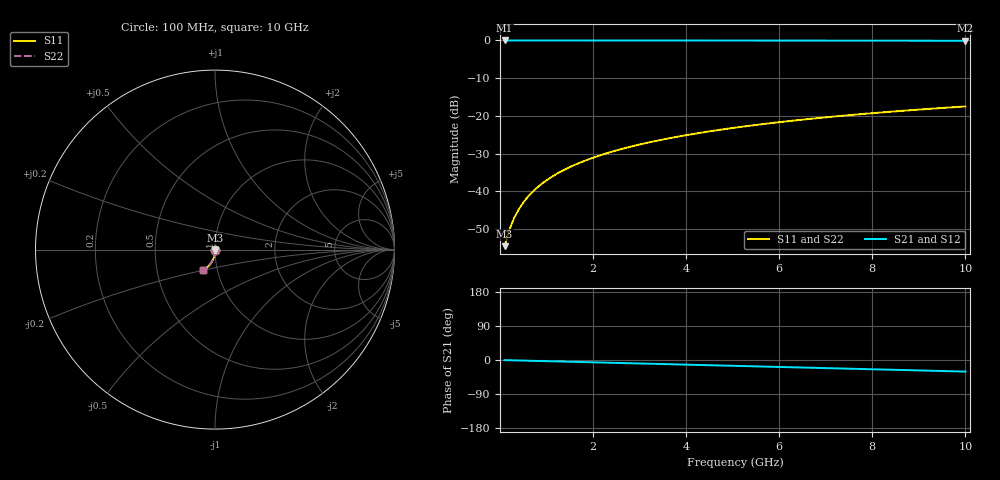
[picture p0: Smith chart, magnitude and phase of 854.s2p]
# Hz S RI R 50.00
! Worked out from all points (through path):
!   100 points, 100 MHz to 10 GHz, reference 50 ohm
!   highest |S21| = -0.01 dB at 100 MHz (marker M1); lowest = -0.1 dB at 10 GHz (marker M2)
!   group delay of S21, straight-line fit = 8.5 ps
!   lowest |S11| = -54.6 dB at 100 MHz (marker M3), VSWR 1.00, Z = 50.1 - j0.14 ohm
!   |S11| at or under -10 dB: start of sweep to end of sweep
!   |S22| runs from -54.6 to -17.5 dB; largest |S21 - S12| = 0
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1e8  0.00124 -0.0014  0.9987 -0.00532  0.9987 -0.00532  0.00124 -0.0014
2e8  0.00123 -0.0028  0.9987 -0.0106  0.9987 -0.0106  0.00123 -0.0028
3e8  0.00119 -0.00419  0.9986 -0.016  0.9986 -0.016  0.00119 -0.00419
4e8  0.00114 -0.00559  0.9985 -0.0213  0.9985 -0.0213  0.00114 -0.00559
5e8  0.00108 -0.00699  0.9983 -0.0266  0.9983 -0.0266  0.00108 -0.00699
6e8  0.000995 -0.00839  0.9982 -0.0319  0.9982 -0.0319  0.000995 -0.00839
7e8  0.000898 -0.00978  0.9979 -0.0373  0.9979 -0.0373  0.000898 -0.00978
8e8  0.000787 -0.0112  0.9977 -0.0426  0.9977 -0.0426  0.000787 -0.0112
9e8  0.00066 -0.0126  0.9975 -0.0479  0.9975 -0.0479  0.00066 -0.0126
1.1e9  0.000362 -0.0154  0.9968 -0.0585  0.9968 -0.0585  0.000362 -0.0154
1.4e9  -0.000197 -0.0195  0.9957 -0.0745  0.9957 -0.0745  -0.000197 -0.0195
1.8e9  -0.00115 -0.025  0.9937 -0.0957  0.9937 -0.0957  -0.00115 -0.025
2.1e9  -0.00202 -0.0292  0.9919 -0.1115  0.9919 -0.1115  -0.00202 -0.0292
2.5e9  -0.00338 -0.0346  0.9891 -0.1327  0.9891 -0.1327  -0.00338 -0.0346
2.9e9  -0.00498 -0.04  0.9858 -0.1537  0.9858 -0.1537  -0.00498 -0.04
3.4e9  -0.00729 -0.0466  0.9811 -0.1799  0.9811 -0.1799  -0.00729 -0.0466
4.2e9  -0.0117 -0.0569  0.9719 -0.2215  0.9719 -0.2215  -0.0117 -0.0569
5.1e9  -0.0177 -0.0681  0.9593 -0.2677  0.9593 -0.2677  -0.0177 -0.0681
5.9e9  -0.024 -0.0774  0.9462 -0.3082  0.9462 -0.3082  -0.024 -0.0774
6.7e9  -0.031 -0.0862  0.9313 -0.348  0.9313 -0.348  -0.031 -0.0862
8.4e9  -0.0482 -0.1028  0.8938 -0.4299  0.8938 -0.4299  -0.0482 -0.1028
1e10  -0.0668 -0.1153  0.8517 -0.5032  0.8517 -0.5032  -0.0668 -0.1153
